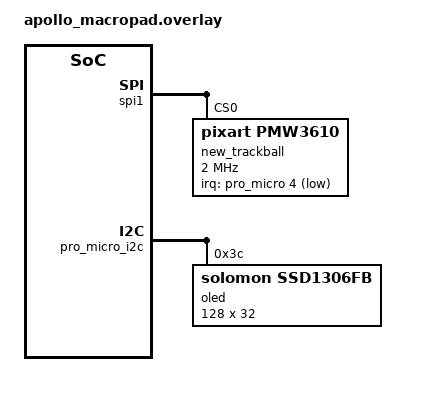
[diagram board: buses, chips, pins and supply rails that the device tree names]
#include "apollo_macropad.dtsi"

/* 1. SPI0を完全に無効化してリソース衝突を回避（成功済み） */
&pro_micro_spi {
    status = "disabled";
    /delete-node/ trackball@0;
};

/* 2. トラックボールを SPI1 に配置 */
&spi1 {
    status = "okay";
    pinctrl-0 = <&spi1_default>;
    pinctrl-1 = <&spi1_sleep>;
    pinctrl-names = "default", "sleep";
    
    new_trackball: pmw3610@0 {
        compatible = "pixart,pmw3610";
        reg = <0>;
        spi-max-frequency = <2000000>;
        irq-gpios = <&pro_micro 4 (GPIO_ACTIVE_LOW | GPIO_PULL_UP)>;
        evt-type = <INPUT_EV_REL>;
        x-input-code = <INPUT_REL_X>;
        y-input-code = <INPUT_REL_Y>;
    };
};

/* 3. I2C (OLED) の定義を修正（必須項目をすべて追加） */
&pro_micro_i2c {
    status = "okay";
    oled: ssd1306@3c {
        compatible = "solomon,ssd1306fb";
        reg = <0x3c>;
        width = <128>;
        height = <32>;
        segment-remap;
        com-invdir;
        com-sequential;
        prechargep = <0x22>;
        /* 以下の3つが不足していた必須項目です */
        segment-offset = <0>;
        page-offset = <0>;
        display-offset = <0>;
        multiplex-ratio = <31>;
    };
};

/* 4. ZMK設定 */
/ {
    chosen {
        zephyr,display = &oled;
    };

    /delete-node/ trackball_listener;
    trackball_listener: trackball_listener {
        compatible = "zmk,input-listener";
        device = <&new_trackball>;
    };
};
